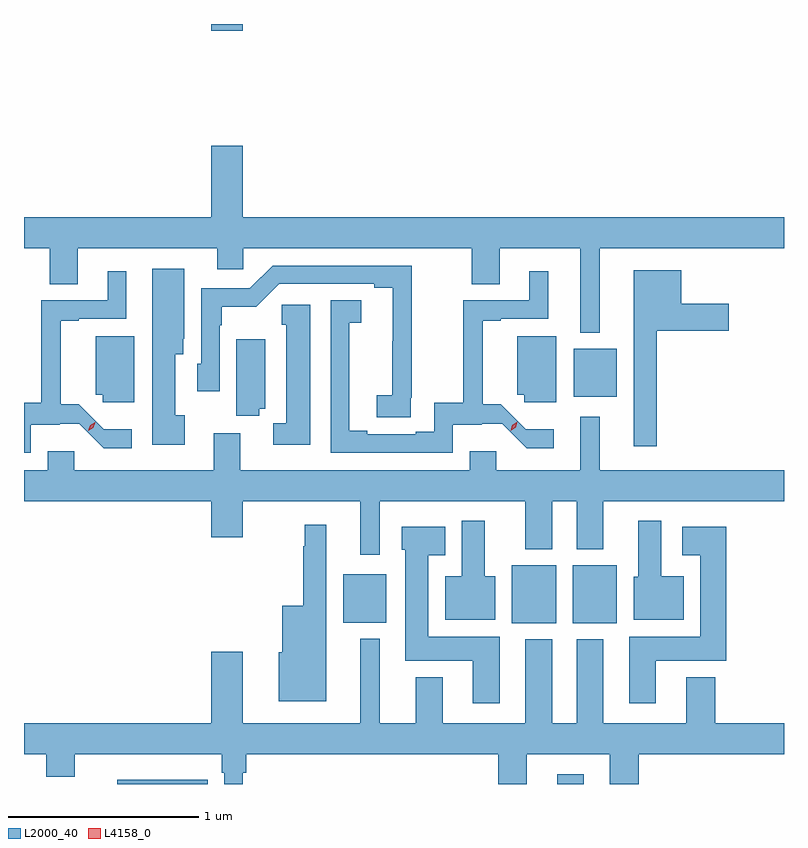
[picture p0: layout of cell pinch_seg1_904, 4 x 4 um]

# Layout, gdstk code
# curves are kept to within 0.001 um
import gdstk
lib = gdstk.Library(unit=1e-6, precision=1e-09)
def R(c, l, rs):  # rectangles x0, y0, x1, y1
    for r in rs: c.add(gdstk.rectangle(r[:2], r[2:], *l))
def P(c, l, *ps):  # polygons
    for p in ps: c.add(gdstk.Polygon(p, *l))
L2000_40 = (2000, 40)
L4158_0 = (4158, 0)

pinch_seg1_904 = lib.new_cell('pinch_seg1_904')
R(pinch_seg1_904, L2000_40, [(118.877,516.944,119.017,516.996), (118.637,517.79,118.87,518.095), (118.958,517.79,119.191,518.095), (117.749,517.793,117.976,518.047), (118.964,518.981,119.191,519.235), (117.056,520.908,117.22,520.944)])
P(pinch_seg1_904, L2000_40, [(119.101,519.764),(120.07,519.764),(120.07,519.928),(117.22,519.928),(117.22,520.303),(117.056,520.303),(117.056,519.928),(116.07,519.928),(116.07,519.764),(116.206,519.764),(116.206,519.574),(116.353,519.574),(116.353,519.764),(117.086,519.764),(117.086,519.654),(117.225,519.654),(117.225,519.764),(118.426,519.764),(118.426,519.574),(118.573,519.574),(118.573,519.764),(118.997,519.764),(118.997,519.32),(119.101,519.32)],
  [(118.106,518.977),(118.112,518.977),(118.112,519.672),(117.378,519.672),(117.258,519.552),(117.003,519.552),(117.003,519.156),(116.982,519.156),(116.982,519.012),(117.099,519.012),(117.099,519.359),(117.112,519.359),(117.112,519.455),(117.293,519.455),(117.414,519.576),(117.914,519.576),(117.914,519.556),(118.01,519.556),(118.009,518.99),(117.927,518.99),(117.927,518.875),(118.106,518.875)],
  [(116.917,518.886),(116.866,518.886),(116.866,519.206),(116.907,519.206),(116.907,519.288),(116.914,519.288),(116.914,519.655),(116.744,519.655),(116.744,518.73),(116.917,518.73)],
  [(119.401,519.329),(119.779,519.329),(119.779,519.471),(119.53,519.471),(119.53,519.649),(119.279,519.649),(119.279,518.721),(119.401,518.721)],
  [(116.106,518.834),(116.259,518.834),(116.259,518.841),(116.36,518.841),(116.49,518.712),(116.638,518.712),(116.638,518.811),(116.49,518.811),(116.358,518.944),(116.264,518.944),(116.264,519.381),(116.359,519.381),(116.359,519.393),(116.608,519.393),(116.608,519.643),(116.51,519.643),(116.51,519.489),(116.161,519.489),(116.161,518.951),(116.07,518.951),(116.07,518.688),(116.106,518.688)],
  [(118.326,518.834),(118.479,518.834),(118.479,518.841),(118.587,518.841),(118.717,518.712),(118.858,518.712),(118.858,518.811),(118.71,518.811),(118.578,518.944),(118.484,518.944),(118.484,519.381),(118.579,519.381),(118.579,519.393),(118.828,519.393),(118.828,519.643),(118.73,519.643),(118.73,519.489),(118.381,519.489),(118.381,518.951),(118.23,518.951),(118.23,518.798),(118.133,518.798),(118.133,518.784),(117.877,518.784),(117.877,518.804),(117.781,518.804),(117.781,519.067),(117.783,519.067),(117.783,519.371),(117.844,519.371),(117.844,519.491),(117.684,519.491),(117.684,518.688),(118.326,518.688)],
  [(117.577,519.466),(117.427,519.466),(117.427,519.36),(117.449,519.36),(117.449,518.844),(117.381,518.844),(117.381,518.729),(117.577,518.729)],
  [(118.87,519.301),(118.667,519.301),(118.667,518.994),(118.704,518.994),(118.704,518.954),(118.87,518.954)],
  [(116.65,519.301),(116.447,519.301),(116.447,518.994),(116.484,518.994),(116.484,518.954),(116.65,518.954)],
  [(117.308,518.918),(117.34,518.918),(117.34,519.286),(117.188,519.286),(117.188,518.881),(117.308,518.881)],
  [(117.943,518.432),(118.709,518.432),(118.709,518.18),(118.849,518.18),(118.849,518.432),(118.979,518.432),(118.979,518.18),(119.119,518.18),(119.119,518.432),(120.07,518.432),(120.07,518.596),(119.101,518.596),(119.101,518.878),(118.997,518.878),(118.997,518.596),(118.555,518.596),(118.555,518.695),(118.415,518.695),(118.415,518.596),(117.208,518.596),(117.208,518.791),(117.068,518.791),(117.068,518.596),(116.335,518.596),(116.335,518.695),(116.195,518.695),(116.195,518.596),(116.07,518.596),(116.07,518.432),(117.056,518.432),(117.056,518.244),(117.22,518.244),(117.22,518.432),(117.839,518.432),(117.839,518.151),(117.943,518.151)],
  [(118.549,518.038),(118.495,518.038),(118.495,518.329),(118.373,518.329),(118.373,518.038),(118.286,518.038),(118.286,517.808),(118.549,517.808)],
  [(119.542,518.038),(119.425,518.038),(119.425,518.329),(119.303,518.329),(119.303,518.034),(119.279,518.034),(119.279,517.808),(119.542,517.808)],
  [(117.661,518.308),(117.547,518.308),(117.547,518.195),(117.54,518.195),(117.54,517.882),(117.428,517.882),(117.428,517.638),(117.41,517.638),(117.41,517.379),(117.661,517.379)],
  [(119.395,517.592),(119.765,517.592),(119.765,518.299),(119.535,518.299),(119.535,518.147),(119.63,518.147),(119.63,517.72),(119.255,517.72),(119.255,517.368),(119.395,517.368)],
  [(118.573,517.72),(118.198,517.72),(118.198,518.147),(118.288,518.147),(118.288,518.299),(118.058,518.299),(118.058,518.178),(118.076,518.178),(118.076,517.592),(118.433,517.592),(118.433,517.368),(118.573,517.368)],
  [(117.22,517.004),(117.239,517.004),(117.239,517.1),(118.565,517.1),(118.565,516.944),(118.717,516.944),(118.717,517.1),(119.153,517.1),(119.153,516.944),(119.306,516.944),(119.306,517.1),(120.07,517.1),(120.07,517.264),(119.708,517.264),(119.708,517.507),(119.555,517.507),(119.555,517.264),(119.119,517.264),(119.119,517.705),(118.979,517.705),(118.979,517.264),(118.849,517.264),(118.849,517.705),(118.709,517.705),(118.709,517.264),(118.273,517.264),(118.273,517.507),(118.133,517.507),(118.133,517.264),(117.943,517.264),(117.943,517.708),(117.839,517.708),(117.839,517.264),(117.22,517.264),(117.22,517.639),(117.056,517.639),(117.056,517.264),(116.07,517.264),(116.07,517.1),(116.186,517.1),(116.186,516.983),(116.338,516.983),(116.338,517.1),(117.11,517.1),(117.11,517.004),(117.123,517.004),(117.123,516.944),(117.22,516.944)],
  [(117.038,516.966),(116.93,516.966),(116.93,516.967),(116.562,516.967),(116.562,516.944),(117.038,516.944)])
P(pinch_seg1_904, L4158_0, [(118.631,518.803),(118.631,518.804),(118.641,518.833),(118.667,518.851),(118.667,518.851),(118.667,518.85),(118.657,518.821),(118.631,518.803)],
  [(116.408,518.804),(116.408,518.804),(116.419,518.832),(116.444,518.847),(116.445,518.847),(116.445,518.847),(116.434,518.819),(116.408,518.804)])

lib.write_gds('pinch_seg1_904.gds')
